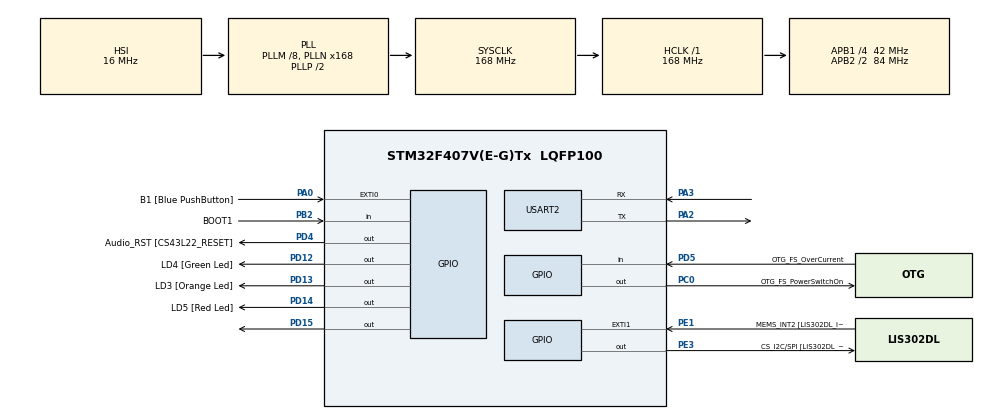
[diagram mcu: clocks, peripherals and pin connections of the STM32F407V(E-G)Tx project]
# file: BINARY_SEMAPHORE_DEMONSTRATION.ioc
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Mcu.Family=STM32F4
Mcu.Name=STM32F407V(E-G)Tx
Mcu.Package=LQFP100
NVIC.PriorityGroup=NVIC_PRIORITYGROUP_4
NVIC.TIM6_DAC_IRQn=true\:0\:0\:false\:false\:true\:false\:true\:true
NVIC.TimeBase=TIM6_DAC_IRQn
NVIC.TimeBaseIP=TIM6
NVIC.USART2_IRQn=true\:6\:0\:true\:false\:true\:true\:true\:true
PA0-WKUP.GPIO_Label=B1 [Blue PushButton]
PA0-WKUP.Signal=GPXTI0
PA10.GPIO_Label=OTG_FS_ID
PA10.GPIO_Mode=GPIO_MODE_AF_PP
PA10.GPIO_PuPd=GPIO_NOPULL
PA10.GPIO_Speed=GPIO_SPEED_FREQ_LOW
PA10.Signal=USB_OTG_FS_ID
PA11.GPIO_Label=OTG_FS_DM
PA11.GPIO_Mode=GPIO_MODE_AF_PP
PA11.GPIO_PuPd=GPIO_NOPULL
PA11.GPIO_Speed=GPIO_SPEED_FREQ_LOW
PA11.Signal=USB_OTG_FS_DM
PA12.GPIO_Label=OTG_FS_DP
PA12.GPIO_Mode=GPIO_MODE_AF_PP
PA12.GPIO_PuPd=GPIO_NOPULL
PA12.GPIO_Speed=GPIO_SPEED_FREQ_LOW
PA12.Signal=USB_OTG_FS_DP
PA13.GPIO_Label=SWDIO
PA13.Signal=SYS_JTMS-SWDIO
PA14.GPIO_Label=SWCLK
PA14.Signal=SYS_JTCK-SWCLK
PA2.Mode=Asynchronous
PA2.Signal=USART2_TX
PA3.Mode=Asynchronous
PA3.Signal=USART2_RX
PA4.GPIO_Label=I2S3_WS [CS43L22_LRCK]
PA4.GPIO_Mode=GPIO_MODE_AF_PP
PA4.GPIO_PuPd=GPIO_NOPULL
PA4.GPIO_Speed=GPIO_SPEED_FREQ_LOW
PA4.Signal=I2S3_WS
PA5.GPIO_Label=SPI1_SCK [LIS302DL_SCL/SPC]
PA5.GPIO_Mode=GPIO_MODE_AF_PP
PA5.GPIO_PuPd=GPIO_NOPULL
PA5.GPIO_Speed=GPIO_SPEED_FREQ_LOW
PA5.Signal=SPI1_SCK
PA6.GPIO_Label=SPI1_MISO [LIS302DL_SDO]
PA6.GPIO_Mode=GPIO_MODE_AF_PP
PA6.GPIO_PuPd=GPIO_NOPULL
PA6.GPIO_Speed=GPIO_SPEED_FREQ_LOW
PA6.Signal=SPI1_MISO
PA7.GPIO_Label=SPI1_MOSI [LIS302DL_SDA/SDI/SDO]
PA7.GPIO_Mode=GPIO_MODE_AF_PP
PA7.GPIO_PuPd=GPIO_NOPULL
PA7.GPIO_Speed=GPIO_SPEED_FREQ_LOW
PA7.Signal=SPI1_MOSI
PA9.GPIO_Label=VBUS_FS
PA9.GPIO_Mode=GPIO_MODE_INPUT
PA9.GPIO_PuPd=GPIO_NOPULL
PA9.Signal=USB_OTG_FS_VBUS
PB10.GPIO_Label=CLK_IN [MP45DT02_CLK]
PB10.GPIO_Mode=GPIO_MODE_AF_PP
PB10.GPIO_PuPd=GPIO_NOPULL
PB10.GPIO_Speed=GPIO_SPEED_FREQ_LOW
PB10.Signal=I2S2_CK
PB2.GPIO_Label=BOOT1
PB2.GPIO_Mode=GPIO_MODE_INPUT
PB2.GPIO_PuPd=GPIO_NOPULL
PB2.Signal=GPIO_Input
PB3.GPIO_Label=SWO
PB3.Signal=SYS_JTDO-SWO
PB6.GPIO_Label=Audio_SCL [CS43L22_SCL]
PB6.GPIO_Mode=GPIO_MODE_AF_OD
PB6.GPIO_PuPd=GPIO_NOPULL
PB6.GPIO_Speed=GPIO_SPEED_FREQ_LOW
PB6.Signal=I2C1_SCL
PB9.GPIO_Label=Audio_SDA [CS43L22_SDA]
PB9.GPIO_Mode=GPIO_MODE_AF_OD
PB9.GPIO_PuPd=GPIO_NOPULL
PB9.GPIO_Speed=GPIO_SPEED_FREQ_LOW
PB9.Signal=I2C1_SDA
PC0.GPIO_Label=OTG_FS_PowerSwitchOn
PC0.GPIO_PuPd=GPIO_NOPULL
PC0.GPIO_Speed=GPIO_SPEED_FREQ_LOW
PC0.PinState=GPIO_PIN_SET
PC0.Signal=GPIO_Output
PC10.GPIO_Label=I2S3_SCK [CS43L22_SCLK]
PC10.GPIO_Mode=GPIO_MODE_AF_PP
PC10.GPIO_PuPd=GPIO_NOPULL
PC10.GPIO_Speed=GPIO_SPEED_FREQ_LOW
PC10.Signal=I2S3_CK
PC12.GPIO_Label=I2S3_SD [CS43L22_SDIN]
PC12.GPIO_Mode=GPIO_MODE_AF_PP
PC12.GPIO_PuPd=GPIO_NOPULL
PC12.GPIO_Speed=GPIO_SPEED_FREQ_LOW
PC12.Signal=I2S3_SD
PC14-OSC32_IN.GPIO_Label=PC14-OSC32_IN
PC14-OSC32_IN.Signal=RCC_OSC32_IN
PC15-OSC32_OUT.GPIO_Label=PC15-OSC32_OUT
PC15-OSC32_OUT.Signal=RCC_OSC32_OUT
PC3.GPIO_Label=PDM_OUT [MP45DT02_DOUT]
PC3.GPIO_Mode=GPIO_MODE_AF_PP
PC3.GPIO_PuPd=GPIO_NOPULL
PC3.GPIO_Speed=GPIO_SPEED_FREQ_LOW
PC3.Signal=I2S2_SD
PC7.GPIO_Label=I2S3_MCK [CS43L22_MCLK]
PC7.GPIO_Mode=GPIO_MODE_AF_PP
PC7.GPIO_PuPd=GPIO_NOPULL
PC7.GPIO_Speed=GPIO_SPEED_FREQ_LOW
PC7.Signal=I2S3_MCK
PD12.GPIO_Label=LD4 [Green Led]
PD12.GPIO_PuPd=GPIO_NOPULL
PD12.GPIO_Speed=GPIO_SPEED_FREQ_LOW
PD12.Signal=GPIO_Output
PD13.GPIO_Label=LD3 [Orange Led]
PD13.GPIO_PuPd=GPIO_NOPULL
PD13.GPIO_Speed=GPIO_SPEED_FREQ_LOW
PD13.Signal=GPIO_Output
PD14.GPIO_Label=LD5 [Red Led]
PD14.GPIO_PuPd=GPIO_NOPULL
PD14.GPIO_Speed=GPIO_SPEED_FREQ_LOW
PD14.Signal=GPIO_Output
PD15.Signal=GPIO_Output
PD4.GPIO_Label=Audio_RST [CS43L22_RESET]
PD4.GPIO_PuPd=GPIO_NOPULL
PD4.GPIO_Speed=GPIO_SPEED_FREQ_LOW
PD4.Signal=GPIO_Output
PD5.GPIO_Label=OTG_FS_OverCurrent
PD5.GPIO_Mode=GPIO_MODE_INPUT
PD5.GPIO_PuPd=GPIO_NOPULL
PD5.Signal=GPIO_Input
PE1.GPIO_Label=MEMS_INT2 [LIS302DL_INT2]
PE1.GPIO_ModeDefaultEXTI=GPIO_MODE_EVT_RISING
PE1.GPIO_PuPd=GPIO_NOPULL
PE1.Signal=GPXTI1
PE3.GPIO_Label=CS_I2C/SPI [LIS302DL_CS_I2C/SPI]
PE3.GPIO_PuPd=GPIO_NOPULL
PE3.GPIO_Speed=GPIO_SPEED_FREQ_LOW
PE3.Signal=GPIO_Output
PH0-OSC_IN.GPIO_Label=PH0-OSC_IN
PH0-OSC_IN.Signal=RCC_OSC_IN
PH1-OSC_OUT.GPIO_Label=PH1-OSC_OUT
PH1-OSC_OUT.Signal=RCC_OSC_OUT
ProjectManager.HeapSize=0x200
ProjectManager.StackSize=0x400
ProjectManager.TargetToolchain=STM32CubeIDE
RCC.48MHZClocksFreq_Value=48000000
RCC.AHBFreq_Value=168000000
RCC.APB1CLKDivider=RCC_HCLK_DIV4
RCC.APB1Freq_Value=42000000
RCC.APB1TimFreq_Value=84000000
RCC.APB2CLKDivider=RCC_HCLK_DIV2
RCC.APB2Freq_Value=84000000
RCC.APB2TimFreq_Value=168000000
RCC.CortexFreq_Value=168000000
RCC.HCLKFreq_Value=168000000
RCC.HSE_VALUE=8000000
RCC.HSI_VALUE=16000000
RCC.LSE_VALUE=32768
RCC.PLLM=8
RCC.PLLN=168
RCC.PLLQ=7
RCC.SYSCLKFreq_VALUE=168000000
RCC.SYSCLKSource=RCC_SYSCLKSOURCE_PLLCLK
RCC.VCOOutputFreq_Value=336000000
USART2.VirtualMode=VM_ASYNC
VP_SYS_VS_tim6.Mode=TIM6
board=STM32F407G-DISC1

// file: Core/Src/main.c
/* USER CODE BEGIN Header */
/**
  ******************************************************************************
  * @file           : main.c
  * @brief          : Binary semaphore + queue producer-consumer demo
  *
  *  Master task (producer) enqueues randomized stationery orders.
  *  Slave task (consumer) dequeues and processes each order sequentially.
  *  Synchronization: binary semaphore (signal) + depth-1 queue (data).
  *
  ******************************************************************************
  */
/* USER CODE END Header */
#include "main.h"

/* USER CODE BEGIN Includes */
#include <string.h>
#include <stdio.h>
#include <stdarg.h>       /* va_list, va_start, va_end              */
#include <stdlib.h>       /* rand()                                 */
#include "FreeRTOS.h"
#include "task.h"
#include "queue.h"
#include "timers.h"
#include "semphr.h"
/* USER CODE END Includes */

/* USER CODE BEGIN PTD */

/* Stationery item identifiers. ITEM_COUNT serves as array bound & modulus. */
typedef enum
{
    ITEM_PEN = 0,
    ITEM_PENCIL,
    ITEM_ERASER,
    ITEM_NOTEBOOK,
    ITEM_MARKER,
    ITEM_STAPLER,
    ITEM_FOLDER,
    ITEM_STICKY_NOTE,
    ITEM_COUNT              /* sentinel: always equals total item types */
} SupplyItem_e;

/* Queue payload: one work order from master to slave. */
typedef struct
{
    uint16_t       usOrderId;       /*  increasing sequence ID  1...N*/
    SupplyItem_e   eItem;           /* item type to distribute               */
    uint8_t        ucQuantity;      /* units to hand out (1..15)             */
} WorkOrder_t;

/* USER CODE END PTD */

/* USER CODE BEGIN PD */
#define UART_TX_BUF_SIZE          256U   /* vConsolePrint() buffer    */
#define ORDER_QUEUE_DEPTH         1U     /* single-slot queue (back-pressure) */
#define MASTER_TASK_STACK_WORDS   500U   /* 500 words = 2000 bytes           */
#define SLAVE_TASK_STACK_WORDS    500U
#define MASTER_TASK_PRIORITY      3U     /* higher number = higher priority   */
#define SLAVE_TASK_PRIORITY       1U
#define MAX_ORDER_QUANTITY        15U    /* max units per order               */
/* USER CODE END PD */

UART_HandleTypeDef huart2;

/* USER CODE BEGIN PV */
static char              g_acPrintBuffer[UART_TX_BUF_SIZE]; /* shared format buffer        */
static SemaphoreHandle_t g_xOrderReadySemaphore = NULL;     /* binary sem: order-ready flag */
static QueueHandle_t     g_xOrderQueue          = NULL;     /* carries WorkOrder_t structs  */

/* Enum-indexed lookup table for printable item names. */
static const char *const g_apcItemNames[ITEM_COUNT] =
{
    [ITEM_PEN]         = "Pen",
    [ITEM_PENCIL]      = "Pencil",
    [ITEM_ERASER]      = "Eraser",
    [ITEM_NOTEBOOK]    = "Notebook",
    [ITEM_MARKER]      = "Marker",
    [ITEM_STAPLER]     = "Stapler",
    [ITEM_FOLDER]      = "Folder",
    [ITEM_STICKY_NOTE] = "Sticky Note",
};
/* USER CODE END PV */

void SystemClock_Config(void);
static void MX_GPIO_Init(void);
static void MX_USART2_UART_Init(void);
/* USER CODE BEGIN PFP */
static void vMasterTask(void *pvParameters);
static void vSlaveTask(void *pvParameters);
/* USER CODE END PFP */

/* USER CODE BEGIN 0 */

/* ---- FreeRTOS error hooks ---- */

/* if Stack overflow detected - Inspect pcTaskName in debugger. */
void vApplicationStackOverflowHook(TaskHandle_t xTask, char *pcTaskName)
{
    (void)xTask;
    (void)pcTaskName;
    for (;;);
}

/* If Heap allocation failed. the below hook get executed, Increase configTOTAL_HEAP_SIZE. */
void vApplicationMallocFailedHook(void)
{
    for (;;);
}

/* ---- UART formatted print () ---- */

/* printf-style output over UART2. Uses vsnprintf */
static void vConsolePrint(const char *pcFormat, ...)
{
    va_list xArgs;
    va_start(xArgs, pcFormat);
    vsnprintf(g_acPrintBuffer, sizeof(g_acPrintBuffer), pcFormat, xArgs);
    va_end(xArgs);

    HAL_UART_Transmit(&huart2, (uint8_t *)g_acPrintBuffer,
                       (uint16_t)strlen(g_acPrintBuffer), HAL_MAX_DELAY);
}

/* ---- Master task (priority 3 — producer) ---- */

/*
 * Generates a random WorkOrder_t each iteration:
 *   1. Build order (random item + quantity)
 *   2. Enqueue via xQueueSend (blocks if slave hasn't consumed yet)
 *   3. Signal slave via xSemaphoreGive
 */
static void vMasterTask(void *pvParameters)
{
    (void)pvParameters;

    WorkOrder_t     xOrder;
    BaseType_t      xQueueStatus;
    static uint16_t usSequenceCounter = 0U;

    /* Binary semaphore starts "taken"; prime it once for clean startup. */
    xSemaphoreGive(g_xOrderReadySemaphore);

    for (;;)
    {
        /* Build random order */
        usSequenceCounter++;
        xOrder.usOrderId  = usSequenceCounter;
        xOrder.eItem      = (SupplyItem_e)(rand() % (int)ITEM_COUNT);
        xOrder.ucQuantity = (uint8_t)((rand() % MAX_ORDER_QUANTITY) + 1U);

        vConsolePrint("[MASTER] Order #%u  ->  Distribute %u x %s\r\n",
                      xOrder.usOrderId,
                      xOrder.ucQuantity,
                      g_apcItemNames[xOrder.eItem]);

        /* Enqueue order; blocks indefinitely if queue full */
        xQueueStatus = xQueueSend(g_xOrderQueue, &xOrder, portMAX_DELAY);

        if (xQueueStatus != pdPASS)
        {
            vConsolePrint("[MASTER] ERROR: enqueue failed for order #%u\r\n",
                          xOrder.usOrderId);
        }
        else
        {
            /* Signal slave that a new order is available */
            xSemaphoreGive(g_xOrderReadySemaphore);

            vTaskDelay(pdMS_TO_TICKS(1000));
        }
    }
}

/* ---- Slave task (priority 1 — consumer) ---- */

/*
 * Blocks on semaphore until master signals, then:
 *   1. Dequeue WorkOrder_t ()
 *   2. Distribute items one-by-one
 *   3. Print completion message
 *   4. Loop back to wait on semaphore
 */
static void vSlaveTask(void *pvParameters)
{
    (void)pvParameters;

    WorkOrder_t xReceivedOrder;
    BaseType_t  xQueueStatus;

    for (;;)
    {
        /* Block until master gives semaphore (zero CPU while waiting) */
        xSemaphoreTake(g_xOrderReadySemaphore, portMAX_DELAY);

        /* Non-blocking dequeue; semaphore guarantees data is present */
        xQueueStatus = xQueueReceive(g_xOrderQueue, &xReceivedOrder, 0);

        if (xQueueStatus == pdPASS)
        {
            /* Hand out items one at a time */
            for (uint8_t ucUnit = 1U; ucUnit <= xReceivedOrder.ucQuantity; ucUnit++)
            {
                vConsolePrint("  [SLAVE] Handing out %s %u of %u ...\r\n",
                              g_apcItemNames[xReceivedOrder.eItem],
                              ucUnit,
                              xReceivedOrder.ucQuantity);

                vTaskDelay(pdMS_TO_TICKS(50));
            }

            vConsolePrint("  [SLAVE] Order #%u COMPLETE  (%u x %s delivered)\r\n\r\n",
                          xReceivedOrder.usOrderId,
                          xReceivedOrder.ucQuantity,
                          g_apcItemNames[xReceivedOrder.eItem]);
        }
        else
        {
            /* Semaphore fired but queue empty — should not happen */
            vConsolePrint("  [SLAVE] WARNING: semaphore received but queue empty\r\n");
        }
    }
}

/* USER CODE END 0 */

int main(void)
{

  /* MCU Configuration--------------------------------------------------------*/

  /* Reset of all peripherals, Initializes the Flash interface and the Systick. */
  HAL_Init();

  /* Configure the system clock */
  SystemClock_Config();

  /* Initialize all configured peripherals */
  MX_GPIO_Init();
  MX_USART2_UART_Init();
  /* USER CODE BEGIN 2 */

  vConsolePrint("\r\n===== Master-Slave Stationery Distribution Demo =====\r\n\r\n");

  /* Create synchronization primitives */
  g_xOrderReadySemaphore = xSemaphoreCreateBinary();
  g_xOrderQueue          = xQueueCreate(ORDER_QUEUE_DEPTH, sizeof(WorkOrder_t));

  if ((g_xOrderReadySemaphore != NULL) && (g_xOrderQueue != NULL))
  {
      xTaskCreate(vMasterTask, "Master", MASTER_TASK_STACK_WORDS,
                  NULL, MASTER_TASK_PRIORITY, NULL);
      xTaskCreate(vSlaveTask,  "Slave",  SLAVE_TASK_STACK_WORDS,
                  NULL, SLAVE_TASK_PRIORITY,  NULL);

      /* Start scheduler; does not return on success */
      vTaskStartScheduler();
  }

  /* Scheduler failed to start (insufficient heap, etc.) */
  vConsolePrint("[ERROR] Failed to create semaphore or queue.\r\n");

  /* USER CODE END 2 */

  /* Infinite loop */
    while (1) {

    }
}

void SystemClock_Config(void)
{
  RCC_OscInitTypeDef RCC_OscInitStruct = {0};
  RCC_ClkInitTypeDef RCC_ClkInitStruct = {0};

  __HAL_RCC_PWR_CLK_ENABLE();
  __HAL_PWR_VOLTAGESCALING_CONFIG(PWR_REGULATOR_VOLTAGE_SCALE1);

  RCC_OscInitStruct.OscillatorType = RCC_OSCILLATORTYPE_HSI;
  RCC_OscInitStruct.HSIState = RCC_HSI_ON;
  RCC_OscInitStruct.HSICalibrationValue = RCC_HSICALIBRATION_DEFAULT;
  RCC_OscInitStruct.PLL.PLLState = RCC_PLL_ON;
  RCC_OscInitStruct.PLL.PLLSource = RCC_PLLSOURCE_HSI;
  RCC_OscInitStruct.PLL.PLLM = 8;
  RCC_OscInitStruct.PLL.PLLN = 168;
  RCC_OscInitStruct.PLL.PLLP = RCC_PLLP_DIV2;
  RCC_OscInitStruct.PLL.PLLQ = 7;
  if (HAL_RCC_OscConfig(&RCC_OscInitStruct) != HAL_OK)
  {
    Error_Handler();
  }

  RCC_ClkInitStruct.ClockType = RCC_CLOCKTYPE_HCLK|RCC_CLOCKTYPE_SYSCLK
                              |RCC_CLOCKTYPE_PCLK1|RCC_CLOCKTYPE_PCLK2;
  RCC_ClkInitStruct.SYSCLKSource = RCC_SYSCLKSOURCE_PLLCLK;
  RCC_ClkInitStruct.AHBCLKDivider = RCC_SYSCLK_DIV1;
  RCC_ClkInitStruct.APB1CLKDivider = RCC_HCLK_DIV4;
  RCC_ClkInitStruct.APB2CLKDivider = RCC_HCLK_DIV2;

  if (HAL_RCC_ClockConfig(&RCC_ClkInitStruct, FLASH_LATENCY_5) != HAL_OK)
  {
    Error_Handler();
  }
}

static void MX_USART2_UART_Init(void)
{

  huart2.Instance = USART2;
  huart2.Init.BaudRate = 115200;
  huart2.Init.WordLength = UART_WORDLENGTH_8B;
  huart2.Init.StopBits = UART_STOPBITS_1;
  huart2.Init.Parity = UART_PARITY_NONE;
  huart2.Init.Mode = UART_MODE_TX_RX;
  huart2.Init.HwFlowCtl = UART_HWCONTROL_NONE;
  huart2.Init.OverSampling = UART_OVERSAMPLING_16;
  if (HAL_UART_Init(&huart2) != HAL_OK)
  {
    Error_Handler();
  }

}

static void MX_GPIO_Init(void)
{
  GPIO_InitTypeDef GPIO_InitStruct = {0};

  __HAL_RCC_GPIOE_CLK_ENABLE();
  __HAL_RCC_GPIOC_CLK_ENABLE();
  __HAL_RCC_GPIOH_CLK_ENABLE();
  __HAL_RCC_GPIOA_CLK_ENABLE();
  __HAL_RCC_GPIOB_CLK_ENABLE();
  __HAL_RCC_GPIOD_CLK_ENABLE();

  HAL_GPIO_WritePin(CS_I2C_SPI_GPIO_Port, CS_I2C_SPI_Pin, GPIO_PIN_RESET);

  HAL_GPIO_WritePin(OTG_FS_PowerSwitchOn_GPIO_Port, OTG_FS_PowerSwitchOn_Pin, GPIO_PIN_SET);

  HAL_GPIO_WritePin(GPIOD, LD4_Pin|LD3_Pin|LD5_Pin|GPIO_PIN_15
                          |Audio_RST_Pin, GPIO_PIN_RESET);

  GPIO_InitStruct.Pin = CS_I2C_SPI_Pin;
  GPIO_InitStruct.Mode = GPIO_MODE_OUTPUT_PP;
  GPIO_InitStruct.Pull = GPIO_NOPULL;
  GPIO_InitStruct.Speed = GPIO_SPEED_FREQ_LOW;
  HAL_GPIO_Init(CS_I2C_SPI_GPIO_Port, &GPIO_InitStruct);

  GPIO_InitStruct.Pin = OTG_FS_PowerSwitchOn_Pin;
  GPIO_InitStruct.Mode = GPIO_MODE_OUTPUT_PP;
  GPIO_InitStruct.Pull = GPIO_NOPULL;
  GPIO_InitStruct.Speed = GPIO_SPEED_FREQ_LOW;
  HAL_GPIO_Init(OTG_FS_PowerSwitchOn_GPIO_Port, &GPIO_InitStruct);

  GPIO_InitStruct.Pin = PDM_OUT_Pin;
  GPIO_InitStruct.Mode = GPIO_MODE_AF_PP;
  GPIO_InitStruct.Pull = GPIO_NOPULL;
  GPIO_InitStruct.Speed = GPIO_SPEED_FREQ_LOW;
  GPIO_InitStruct.Alternate = GPIO_AF5_SPI2;
  HAL_GPIO_Init(PDM_OUT_GPIO_Port, &GPIO_InitStruct);

  GPIO_InitStruct.Pin = B1_Pin;
  GPIO_InitStruct.Mode = GPIO_MODE_IT_RISING;
  GPIO_InitStruct.Pull = GPIO_NOPULL;
  HAL_GPIO_Init(B1_GPIO_Port, &GPIO_InitStruct);

  GPIO_InitStruct.Pin = I2S3_WS_Pin;
  GPIO_InitStruct.Mode = GPIO_MODE_AF_PP;
  GPIO_InitStruct.Pull = GPIO_NOPULL;
  GPIO_InitStruct.Speed = GPIO_SPEED_FREQ_LOW;
  GPIO_InitStruct.Alternate = GPIO_AF6_SPI3;
  HAL_GPIO_Init(I2S3_WS_GPIO_Port, &GPIO_InitStruct);

  GPIO_InitStruct.Pin = SPI1_SCK_Pin|SPI1_MISO_Pin|SPI1_MOSI_Pin;
  GPIO_InitStruct.Mode = GPIO_MODE_AF_PP;
  GPIO_InitStruct.Pull = GPIO_NOPULL;
  GPIO_InitStruct.Speed = GPIO_SPEED_FREQ_LOW;
  GPIO_InitStruct.Alternate = GPIO_AF5_SPI1;
  HAL_GPIO_Init(GPIOA, &GPIO_InitStruct);

  GPIO_InitStruct.Pin = BOOT1_Pin;
  GPIO_InitStruct.Mode = GPIO_MODE_INPUT;
  GPIO_InitStruct.Pull = GPIO_NOPULL;
  HAL_GPIO_Init(BOOT1_GPIO_Port, &GPIO_InitStruct);

  GPIO_InitStruct.Pin = CLK_IN_Pin;
  GPIO_InitStruct.Mode = GPIO_MODE_AF_PP;
  GPIO_InitStruct.Pull = GPIO_NOPULL;
  GPIO_InitStruct.Speed = GPIO_SPEED_FREQ_LOW;
  GPIO_InitStruct.Alternate = GPIO_AF5_SPI2;
  HAL_GPIO_Init(CLK_IN_GPIO_Port, &GPIO_InitStruct);

  GPIO_InitStruct.Pin = LD4_Pin|LD3_Pin|LD5_Pin|GPIO_PIN_15
                          |Audio_RST_Pin;
  GPIO_InitStruct.Mode = GPIO_MODE_OUTPUT_PP;
  GPIO_InitStruct.Pull = GPIO_NOPULL;
  GPIO_InitStruct.Speed = GPIO_SPEED_FREQ_LOW;
  HAL_GPIO_Init(GPIOD, &GPIO_InitStruct);

  GPIO_InitStruct.Pin = I2S3_MCK_Pin|I2S3_SCK_Pin|I2S3_SD_Pin;
  GPIO_InitStruct.Mode = GPIO_MODE_AF_PP;
  GPIO_InitStruct.Pull = GPIO_NOPULL;
  GPIO_InitStruct.Speed = GPIO_SPEED_FREQ_LOW;
  GPIO_InitStruct.Alternate = GPIO_AF6_SPI3;
  HAL_GPIO_Init(GPIOC, &GPIO_InitStruct);

  GPIO_InitStruct.Pin = VBUS_FS_Pin;
  GPIO_InitStruct.Mode = GPIO_MODE_INPUT;
  GPIO_InitStruct.Pull = GPIO_NOPULL;
  HAL_GPIO_Init(VBUS_FS_GPIO_Port, &GPIO_InitStruct);

  GPIO_InitStruct.Pin = OTG_FS_ID_Pin|OTG_FS_DM_Pin|OTG_FS_DP_Pin;
  GPIO_InitStruct.Mode = GPIO_MODE_AF_PP;
  GPIO_InitStruct.Pull = GPIO_NOPULL;
  GPIO_InitStruct.Speed = GPIO_SPEED_FREQ_LOW;
  GPIO_InitStruct.Alternate = GPIO_AF10_OTG_FS;
  HAL_GPIO_Init(GPIOA, &GPIO_InitStruct);

  GPIO_InitStruct.Pin = OTG_FS_OverCurrent_Pin;
  GPIO_InitStruct.Mode = GPIO_MODE_INPUT;
  GPIO_InitStruct.Pull = GPIO_NOPULL;
  HAL_GPIO_Init(OTG_FS_OverCurrent_GPIO_Port, &GPIO_InitStruct);

  GPIO_InitStruct.Pin = Audio_SCL_Pin|Audio_SDA_Pin;
  GPIO_InitStruct.Mode = GPIO_MODE_AF_OD;
  GPIO_InitStruct.Pull = GPIO_NOPULL;
  GPIO_InitStruct.Speed = GPIO_SPEED_FREQ_LOW;
  GPIO_InitStruct.Alternate = GPIO_AF4_I2C1;
  HAL_GPIO_Init(GPIOB, &GPIO_InitStruct);

  GPIO_InitStruct.Pin = MEMS_INT2_Pin;
  GPIO_InitStruct.Mode = GPIO_MODE_EVT_RISING;
  GPIO_InitStruct.Pull = GPIO_NOPULL;
  HAL_GPIO_Init(MEMS_INT2_GPIO_Port, &GPIO_InitStruct);

}

void HAL_TIM_PeriodElapsedCallback(TIM_HandleTypeDef *htim)
{
  if (htim->Instance == TIM6) {
    HAL_IncTick();
  }
}

void Error_Handler(void)
{
  __disable_irq();
  while (1)
  {
  }
}
